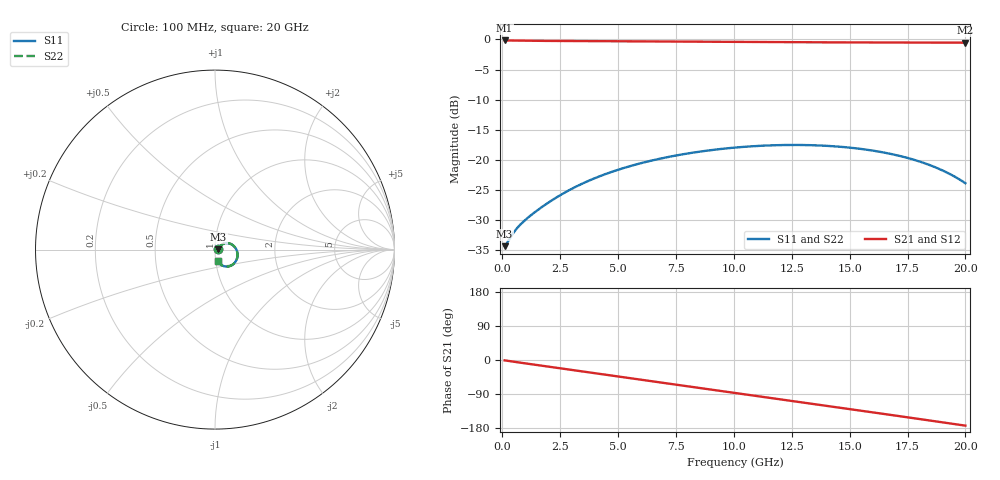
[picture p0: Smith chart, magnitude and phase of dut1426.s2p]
! Touchstone file exported from HFSS 2026.1.0
!  File:  C:/ffzhzh/LocalFiles/Ansys_Project_Files/temp_train_TSV_RDL_1426_1783355205_46376.aedt
!  Generated:  12:34:13 AM Jul  7, 2026
!  Design:  TSV_RDL
!  Project:  temp_train_TSV_RDL_1426_1783355205_46376
! Variables:
!  h_bsmrdl = 2.04um
!  h_ox = 20um
!  h_rdl = 5um
!  h_sub = 81.47um
!  h_tmrdl = 4.08um
!  h_tsv = 81.47um
!  h_via = 3um
!  l_bsmrdl = 443.59um
!  l_sub = 2345.67um
!  l_tmrdl = 122.51um
!  m_sub = 200um
!  pitch = 30.36um
!  r_tsv = 12.11um
!  s_tmrdl = 10um
!  w_bsmrdl = 14.22um
!  w_sub = 500um
!  w_tmrdl = 27.4um
!  x_tsv_center1 = 136.21um
!  x_tsv_center2 = 594.02um
!  x_tsv_center3 = 743.93um
!  x_tsv_center4 = 1201.74um
!  x_tsv_center5 = 1351.65um
!  x_tsv_center6 = 1809.46um
# GHz S MA R 50.000000
! Terminal data exported
! Port[1] = TM_RDL1_1_T1
! Port[2] = TM_RDL5_1_T1
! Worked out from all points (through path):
!   200 points, 100 MHz to 20 GHz, reference 50 ohm
!   highest |S21| = -0.17 dB at 100 MHz (marker M1); lowest = -0.5 dB at 20 GHz (marker M2)
!   group delay of S21, straight-line fit = 23.9 ps
!   lowest |S11| = -34.4 dB at 100 MHz (marker M3), VSWR 1.04, Z = 51.9 + j0.272 ohm
!   |S11| at or under -10 dB: start of sweep to end of sweep
!   |S22| runs from -34.4 to -17.5 dB; largest |S21 - S12| = 2e-14
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0.1  0.0191 7.9  0.9811 -0.9  0.9811 -0.9  0.0191 7.9
! Gamma 0 0 0 0
! Port Impedance 50 0 50 0
0.6  0.02643 26.4  0.9774 -5.5  0.9774 -5.5  0.02642 26.4
1.2  0.03408 32.3  0.9747 -10.7  0.9747 -10.7  0.03408 32.3
2.3  0.04804 35.8  0.9719 -20.2  0.9719 -20.2  0.04804 35.8
3.5  0.06384 33.1  0.969 -30.6  0.969 -30.6  0.06384 33.1
4.3  0.07401 29.5  0.967 -37.5  0.967 -37.5  0.07401 29.5
5.2  0.08481 24.4  0.9646 -45.3  0.9646 -45.3  0.08481 24.4
6.8  0.1019 14.2  0.9605 -59.0  0.9605 -59.0  0.1019 14.2
7.7  0.1101 8.0  0.9583 -66.8  0.9583 -66.8  0.1101 8.0
8.5  0.1165 2.4  0.9564 -73.6  0.9564 -73.6  0.1165 2.4
9.3  0.122 -3.3  0.9546 -80.5  0.9546 -80.5  0.122 -3.3
10.1  0.1264 -9.1  0.9529 -87.3  0.9529 -87.3  0.1264 -9.1
10.9  0.1297 -14.9  0.9513 -94.2  0.9513 -94.2  0.1297 -14.9
11.7  0.1318 -20.8  0.9498 -101.1  0.9498 -101.1  0.1319 -20.8
12.5  0.1327 -26.7  0.9484 -107.9  0.9484 -107.9  0.1327 -26.7
13.4  0.132 -33.3  0.947 -115.7  0.947 -115.7  0.132 -33.3
15  0.126 -44.9  0.945 -129.5  0.945 -129.5  0.1261 -44.9
16.7  0.1126 -57.0  0.9433 -144.2  0.9433 -144.2  0.1126 -57.0
17.6  0.1022 -63.1  0.9425 -152.1  0.9425 -152.1  0.1023 -63.1
18.5  0.08964 -68.8  0.9417 -160.0  0.9417 -160.0  0.08967 -68.7
19.3  0.07656 -73.1  0.941 -167.0  0.941 -167.0  0.0766 -73.0
20  0.06374 -75.9  0.9402 -173.2  0.9402 -173.2  0.06379 -75.8
